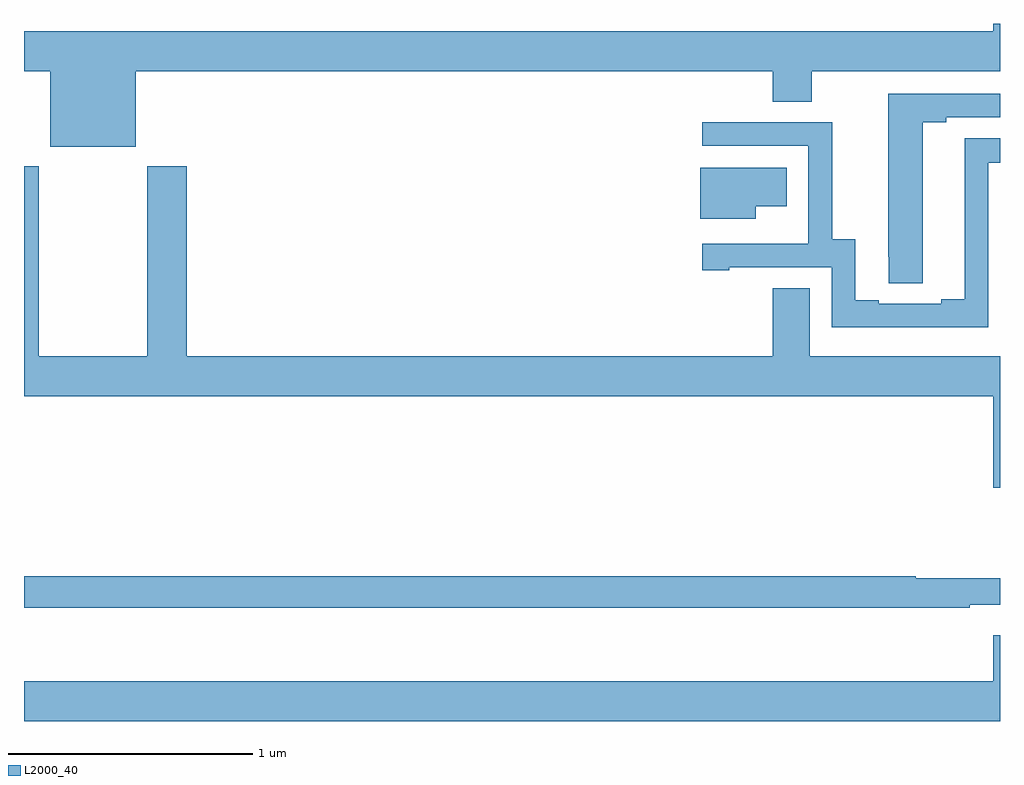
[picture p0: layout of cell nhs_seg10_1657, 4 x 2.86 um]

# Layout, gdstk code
import gdstk
lib = gdstk.Library(unit=1e-6, precision=1e-09)
def P(c, l, *ps):  # polygons
    for p in ps: c.add(gdstk.Polygon(p, *l))
L2000_40 = (2000, 40)

nhs_seg10_1657 = lib.new_cell('nhs_seg10_1657')
P(nhs_seg10_1657, L2000_40, [(197.458,1312.304),(200.069,1312.304),(200.069,1312.18),(200.229,1312.18),(200.229,1312.304),(201,1312.304),(201,1312.5),(200.972,1312.5),(200.972,1312.468),(197,1312.468),(197,1312.304),(197.108,1312.304),(197.108,1311.995),(197.458,1311.995)],
  [(200.683,1312.096),(200.779,1312.096),(200.779,1312.116),(201,1312.116),(201,1312.212),(200.543,1312.212),(200.543,1311.544),(200.544,1311.544),(200.544,1311.436),(200.683,1311.436)],
  [(200.952,1311.93),(201,1311.93),(201,1312.031),(200.855,1312.031),(200.855,1311.371),(200.759,1311.371),(200.759,1311.351),(200.503,1311.351),(200.503,1311.366),(200.407,1311.366),(200.407,1311.617),(200.313,1311.617),(200.313,1312.095),(199.779,1312.095),(199.779,1311.999),(200.214,1311.999),(200.214,1311.598),(200.213,1311.598),(200.213,1311.597),(199.779,1311.597),(199.779,1311.489),(199.891,1311.489),(199.891,1311.501),(200.31,1311.501),(200.31,1311.255),(200.952,1311.255)],
  [(201,1311.136),(200.221,1311.136),(200.221,1311.416),(200.069,1311.416),(200.069,1311.136),(197.666,1311.136),(197.666,1311.916),(197.506,1311.916),(197.506,1311.136),(197.061,1311.136),(197.061,1311.916),(197,1311.916),(197,1310.972),(200.972,1310.972),(200.972,1310.598),(201,1310.598)],
  [(199.999,1311.752),(200.125,1311.752),(200.125,1311.91),(199.772,1311.91),(199.772,1311.701),(199.999,1311.701)],
  [(200.876,1310.118),(201,1310.118),(201,1310.227),(200.655,1310.227),(200.655,1310.234),(197,1310.234),(197,1310.106),(200.876,1310.106)],
  [(201,1309.993),(200.972,1309.993),(200.972,1309.804),(197,1309.804),(197,1309.64),(201,1309.64)])

lib.write_gds('nhs_seg10_1657.gds')
